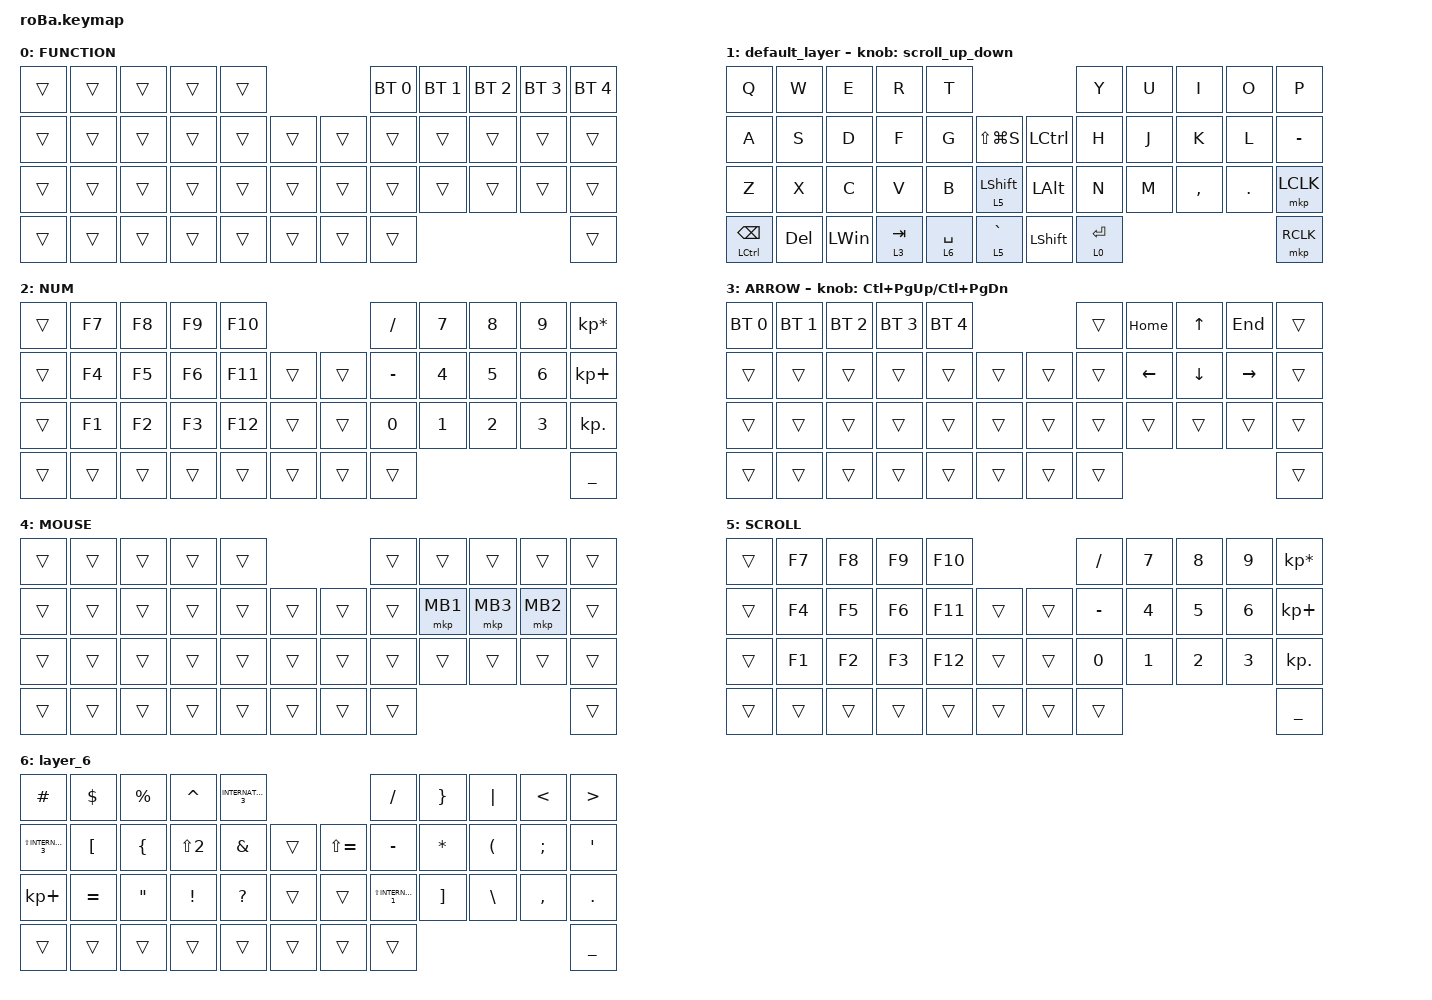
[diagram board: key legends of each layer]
#include <behaviors.dtsi>
#include <dt-bindings/zmk/bt.h>
#include <dt-bindings/zmk/keys.h>
#include <dt-bindings/zmk/pointing.h>
#include <dt-bindings/zmk/pointing.h>

#define ZMK_POINTING_DEFAULT_SCRL_VAL 100
#define MOUSE 4
#define SCROLL 5
#define NUM 6

&mt {
    flavor = "balanced";
    quick-tap-ms = <0>;
};

/ {
    combos {
        compatible = "zmk,combos";

        tab {
            bindings = <&kp TAB>;
            key-positions = <11 12>;
        };

        shift_tab {
            bindings = <&kp LS(TAB)>;
            key-positions = <12 13>;
        };

        muhennkann {
            bindings = <&to_layer_0 INT_MUHENKAN>;
            key-positions = <42 0>;
        };

        double_quotation {
            bindings = <&kp DOUBLE_QUOTES>;
            key-positions = <20 21>;
        };

        eq {
            bindings = <&kp EQUAL>;
            key-positions = <24 25>;
        };
    };

    macros {
        to_layer_0: to_layer_0 {
            compatible = "zmk,behavior-macro-one-param";
            #binding-cells = <1>;
            bindings = <&to 1 &macro_param_1to1 &kp MACRO_PLACEHOLDER>;
            label = "TO_LAYER_0";
        };
    };

    behaviors {
        lt_to_layer_0: lt_to_layer_0 {
            compatible = "zmk,behavior-hold-tap";
            label = "LAYER_TAP_TO_0";
            bindings = <&mo>, <&to_layer_0>;

            #binding-cells = <2>;
            tapping-term-ms = <200>;
        };

        scroll_up_down: behavior_sensor_rotate_mouse_wheel_up_down {
            compatible = "zmk,behavior-sensor-rotate";
            #sensor-binding-cells = <0>;
            bindings = <&msc SCRL_DOWN>, <&msc SCRL_UP>;

            // 追加: スクロールのタップ時間を設定 (20ms)

            tap-ms = <20>;
        };
    };

    keymap {
        compatible = "zmk,keymap";

        FUNCTION {
            bindings = <
&trans  &trans  &trans  &trans  &trans                      &bt BT_SEL 0  &bt BT_SEL 1  &bt BT_SEL 2  &bt BT_SEL 3  &bt BT_SEL 4
&trans  &trans  &trans  &trans  &trans  &trans      &trans  &trans        &trans        &trans        &trans        &trans
&trans  &trans  &trans  &trans  &trans  &trans      &trans  &trans        &trans        &trans        &trans        &trans
&trans  &trans  &trans  &trans  &trans  &trans      &trans  &trans                                                  &trans
            >;
        };

        default_layer {
            bindings = <
&kp Q                       &kp W    &kp E         &kp R                 &kp T                                                    &kp Y        &kp U  &kp I      &kp O    &kp P
&kp A                       &kp S    &kp D         &kp F                 &kp G        &kp LS(LG(S))               &kp LCTRL       &kp H        &kp J  &kp K      &kp L    &kp MINUS
&kp Z                       &kp X    &kp C         &kp V                 &kp B        &lt 5 LEFT_SHIFT            &kp LALT        &kp N        &kp M  &kp COMMA  &kp DOT  &mkp LCLK
&mt LEFT_CONTROL BACKSPACE  &kp DEL  &kp LEFT_WIN  &lt_to_layer_0 3 TAB  &lt 6 SPACE  &lt_to_layer_0 5 GRAVE      &kp LEFT_SHIFT  &lt 0 ENTER                             &mkp RCLK
            >;

            sensor-bindings = <&scroll_up_down>;
        };

        NUM {
            bindings = <
&trans  &kp F7  &kp F8  &kp F9  &kp F10                      &kp SLASH     &kp NUMBER_7  &kp NUMBER_8  &kp NUMBER_9  &kp KP_ASTERISK
&trans  &kp F4  &kp F5  &kp F6  &kp F11  &trans      &trans  &kp MINUS     &kp NUMBER_4  &kp NUMBER_5  &kp NUMBER_6  &kp KP_PLUS
&trans  &kp F1  &kp F2  &kp F3  &kp F12  &trans      &trans  &kp NUMBER_0  &kp NUMBER_1  &kp NUMBER_2  &kp NUMBER_3  &kp KP_DOT
&trans  &trans  &trans  &trans  &trans   &trans      &trans  &trans                                                  &kp UNDERSCORE
            >;
        };

        ARROW {
            bindings = <
&bt BT_SEL 0  &bt BT_SEL 1  &bt BT_SEL 2  &bt BT_SEL 3  &bt BT_SEL 4                      &trans  &kp HOME        &kp UP_ARROW    &kp END          &trans
&trans        &trans        &trans        &trans        &trans        &trans      &trans  &trans  &kp LEFT_ARROW  &kp DOWN_ARROW  &kp RIGHT_ARROW  &trans
&trans        &trans        &trans        &trans        &trans        &trans      &trans  &trans  &trans          &trans          &trans           &trans
&trans        &trans        &trans        &trans        &trans        &trans      &trans  &trans                                                   &trans
            >;

            sensor-bindings = <&inc_dec_kp LC(PAGE_UP) LC(PAGE_DOWN)>;
        };

        MOUSE {
            bindings = <
&trans  &trans  &trans  &trans  &trans                      &trans  &trans    &trans    &trans    &trans
&trans  &trans  &trans  &trans  &trans  &trans      &trans  &trans  &mkp MB1  &mkp MB3  &mkp MB2  &trans
&trans  &trans  &trans  &trans  &trans  &trans      &trans  &trans  &trans    &trans    &trans    &trans
&trans  &trans  &trans  &trans  &trans  &trans      &trans  &trans                                &trans
            >;
        };

        SCROLL {
            bindings = <
&trans  &kp F7  &kp F8  &kp F9  &kp F10                      &kp SLASH     &kp NUMBER_7  &kp NUMBER_8  &kp NUMBER_9  &kp KP_MULTIPLY
&trans  &kp F4  &kp F5  &kp F6  &kp F11  &trans      &trans  &kp MINUS     &kp NUMBER_4  &kp NUMBER_5  &kp NUMBER_6  &kp KP_PLUS
&trans  &kp F1  &kp F2  &kp F3  &kp F12  &trans      &trans  &kp NUMBER_0  &kp NUMBER_1  &kp NUMBER_2  &kp NUMBER_3  &kp KP_DOT
&trans  &trans  &trans  &trans  &trans   &trans      &trans  &trans                                                  &kp UNDERSCORE
            >;
        };

        layer_6 {
            bindings = <
&kp HASH                 &kp DOLLAR        &kp PERCENT        &kp CARET         &kp INTERNATIONAL_3                             &kp SLASH                &kp RIGHT_BRACE    &kp PIPE              &kp LESS_THAN  &kp GREATER_THAN
&kp LS(INTERNATIONAL_3)  &kp LEFT_BRACKET  &kp LEFT_BRACE     &kp LS(NUMBER_2)  &kp AMPERSAND        &trans      &kp LS(EQUAL)  &kp MINUS                &kp ASTERISK       &kp LEFT_PARENTHESIS  &kp SEMICOLON  &kp SQT
&kp KP_PLUS              &kp EQUAL         &kp DOUBLE_QUOTES  &kp EXCLAMATION   &kp QUESTION         &trans      &trans         &kp LS(INTERNATIONAL_1)  &kp RIGHT_BRACKET  &kp BACKSLASH         &kp COMMA      &kp PERIOD
&trans                   &trans            &trans             &trans            &trans               &trans      &trans         &trans                                                                           &kp UNDERSCORE
            >;
        };
    };
};
